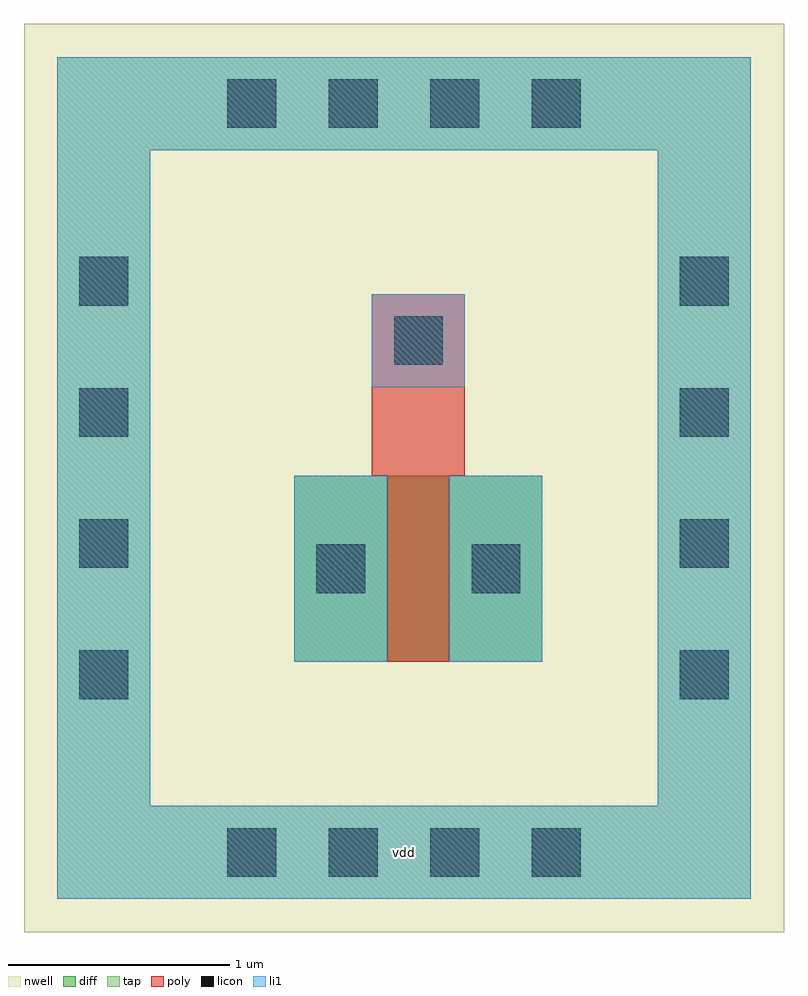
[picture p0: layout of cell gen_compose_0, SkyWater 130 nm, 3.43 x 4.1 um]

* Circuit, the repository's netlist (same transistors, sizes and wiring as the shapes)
* extracted by klt extract --deck sky130

* cell gen_compose_0
* pin vdd
.SUBCKT gen_compose_0 vdd
* device instance $1 r0 *1 1.63,1.49 pfet
M$1 \$2 \$3 \$1 vdd pfet L=0.28U W=0.84U AS=0.3528P AD=0.3528P PS=2.52U PD=2.52U
.ENDS gen_compose_0

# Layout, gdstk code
import gdstk
lib = gdstk.Library(unit=1e-6, precision=1e-09)
def R(c, l, rs):  # rectangles x0, y0, x1, y1
    for r in rs: c.add(gdstk.rectangle(r[:2], r[2:], *l))
def A(c, l, x, y, w, h, nx, ny, dx, dy):  # array of equal rectangles
    R(c, l, [(x+i*dx, y+j*dy, x+i*dx+w, y+j*dy+h) for i in range(nx) for j in range(ny)])
def P(c, l, *ps):  # polygons
    for p in ps: c.add(gdstk.Polygon(p, *l))
nwell = (64, 20)
diff = (65, 20)
tap = (65, 44)
poly = (66, 20)
licon = (66, 44)
li1 = (67, 20)

guard_ring = lib.new_cell('guard_ring')
R(guard_ring, nwell, [(-0.15,-0.15,3.28,3.95)])
P(guard_ring, tap, [(0,0),(0,3.38),(0.42,3.38),(0.42,0.42),(2.71,0.42),(2.71,3.38),(0,3.38),(0,3.8),(3.13,3.8),(3.13,0)])
A(guard_ring, licon, 0.768, 0.1, 0.22, 0.22, 4, 2, 0.458, 3.38)
A(guard_ring, licon, 0.1, 0.902, 0.22, 0.22, 1, 4, 0, 0.592)
A(guard_ring, licon, 2.81, 0.902, 0.22, 0.22, 1, 4, 0, 0.592)
P(guard_ring, li1, [(0,0),(0,3.38),(0.42,3.38),(0.42,0.42),(2.71,0.42),(2.71,3.38),(0,3.38),(0,3.8),(3.13,3.8),(3.13,0)])

well_tap__pmos_well_tap = lib.new_cell('well_tap__pmos_well_tap')
well_tap__pmos_well_tap.add(gdstk.Reference(guard_ring, (0,0)))

mos_array = lib.new_cell('mos_array')
R(mos_array, nwell, [(-0.15,-0.15,1.27,1.81)])
R(mos_array, diff, [(0,0,1.12,0.84)])
R(mos_array, poly, [(0.42,0,0.7,0.84), (0.35,0.84,0.77,1.66)])
R(mos_array, licon, [(0.1,0.31,0.32,0.53), (0.8,0.31,1.02,0.53), (0.45,1.34,0.67,1.56)])
R(mos_array, li1, [(0,0,0.42,0.84), (0.7,0,1.12,0.84), (0.35,1.24,0.77,1.66)])

mp__pfet_demo = lib.new_cell('mp__pfet_demo')
mp__pfet_demo.add(gdstk.Reference(mos_array, (0,0)))

gen_compose_0 = lib.new_cell('gen_compose_0')
gen_compose_0.add(gdstk.Reference(well_tap__pmos_well_tap, (0,0)))
gen_compose_0.add(gdstk.Reference(mp__pfet_demo, (1.07,1.07)))
gen_compose_0.add(gdstk.Label('vdd', (1.565,0.21), layer=67, texttype=5))

lib.write_gds('gen_compose_0.gds')
